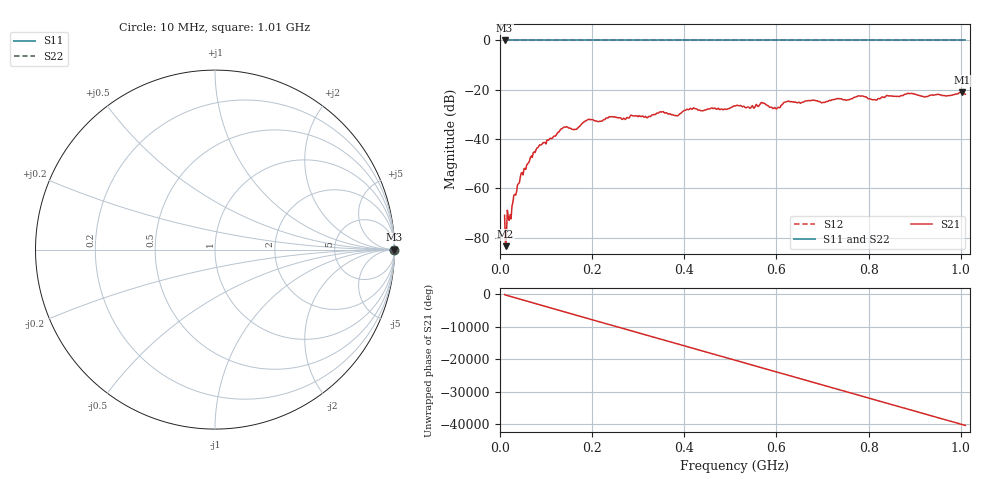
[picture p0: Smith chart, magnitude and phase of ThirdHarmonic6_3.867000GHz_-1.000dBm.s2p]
! 8/17/2025 1:31:46 PM
! C:\ANRITSUVNA\TEMP\TEMP.S2P
! CHANNEL.1
! TR.MEASUREMENT
! RAW.DATA
! RF.CORRECTION.OFF
! AVERAGING.OFF
! IF.BANDWIDTH: 5KHZ
! SWEEPTYPE:  FREQ.SWEEP(Linear)
! Reference Plane Port Info
! PORT:  PORT1  PORT2
! DISTANCE:  0  m  0  m
! TIME:  0  s  0  s
! PHASE.OFFSET:  0  deg.  0  deg.
! LOSS:  0  dB  0  dB
! REF.LOSS:  0  dB  0  dB
! REF.FREQ:  0  Hz  0  Hz
! Power Info
! POWER:  -20  dBm  -20  dBm
! EFF.POWER:  -20  dBm  -20  dBm
! SOURCE.ATTEN:  0  dB  0  dB
! TEST.ATTEN:  0  dB  0  dB
# GHZ S RI R 50.0
! FREQ.GHZ  S11RE  S11IM  S21RE  S21IM  S12RE  S12IM  S22RE  S22IM
!; PortSelection: Port_12
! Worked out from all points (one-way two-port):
!   501 points, 10 MHz to 1.01 GHz, reference 50 ohm
!   highest |S21| = -21.13 dB at 1.002 GHz (marker M1); lowest = -83.5 dB at 12 MHz (marker M2)
!   lowest |S11| = 0.0 dB at 10 MHz (marker M3)
!   |S11| at or under -10 dB: nowhere
!   |S22| runs from 0.0 to 0.0 dB; largest |S21 - S12| = 1.1
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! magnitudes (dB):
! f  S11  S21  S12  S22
! 10 MHz  0.0  -71.0  0.0  0.0
! 12 MHz  0.0  -83.5  0.0  0.0
! 16 MHz  0.0  -68.9  0.0  0.0
! 48 MHz  0.0  -53.7  0.0  0.0
! 82 MHz  0.0  -43.6  0.0  0.0
! 136 MHz  0.0  -35.6  0.0  0.0
! 164 MHz  0.0  -36.1  0.0  0.0
! 178 MHz  0.0  -33.7  0.0  0.0
! 344 MHz  0.0  -29.5  0.0  0.0
! 382 MHz  0.0  -30.5  0.0  0.0
! 416 MHz  0.0  -28.0  0.0  0.0
! 510 MHz  0.0  -26.6  0.0  0.0
! 548 MHz  0.0  -26.5  0.0  0.0
! 570 MHz  0.0  -25.4  0.0  0.0
! 596 MHz  0.0  -27.2  0.0  0.0
! 622 MHz  0.0  -24.9  0.0  0.0
! 678 MHz  0.0  -24.3  0.0  0.0
! 782 MHz  0.0  -22.6  0.0  0.0
! 814 MHz  0.0  -24.0  0.0  0.0
! 844 MHz  0.0  -22.5  0.0  0.0
! 1.002 GHz  0.0  -21.1  0.0  0.0
! 1.01 GHz  0.0  -21.8  0.0  0.0
